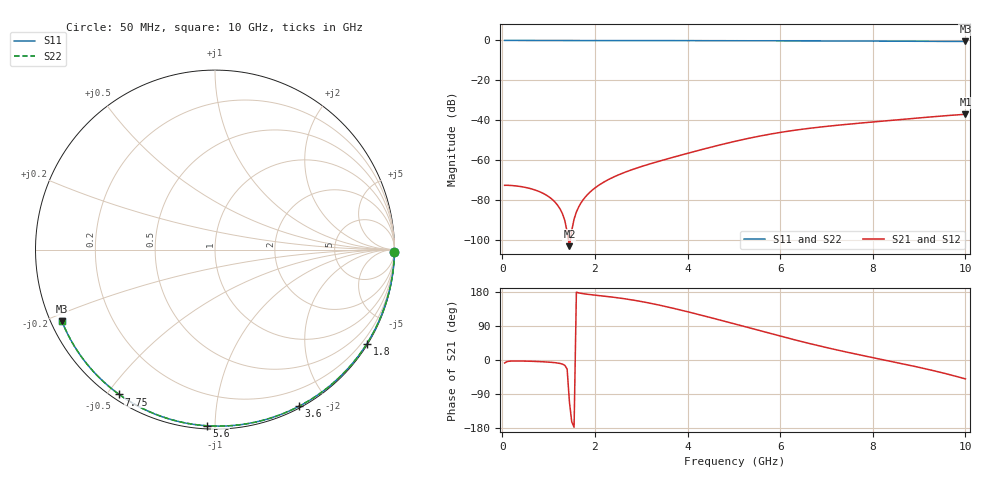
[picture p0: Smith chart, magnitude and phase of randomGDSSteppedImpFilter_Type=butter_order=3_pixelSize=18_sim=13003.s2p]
! freq	dB(S11)	phase(S11)	dB(S12)	phase(S12)
!  dB(S21)	phase(S21)	dB(S22)	phase(S22)
!S-par simulation data
#  GHz  S  DB  R 50
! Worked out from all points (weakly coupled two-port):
!   200 points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, 50 MHz to 10 GHz, reference 50 ohm
!   highest |S21| = -36.98 dB at 10 GHz (marker M1); lowest = -103.0 dB at 1.45 GHz (marker M2)
!   lowest |S11| = -0.5 dB at 10 GHz (marker M3), VSWR 33.33, Z = 1.58 - j11.1 ohm
!   |S11| at or under -10 dB: nowhere
!   |S22| runs from -0.5 to 0.0 dB; largest |S21 - S12| = 0
!   S11 on the Smith chart (normalised r, x): 50 MHz: open; 1.8 GHz: 0.03, -3.52; 3.6 GHz: 0.02, -1.67; 5.6 GHz: 0.02, -0.95; 7.75 GHz: 0.02, -0.54; 10 GHz: 0.03, -0.22
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0.05  -0.00 -0.9  -72.56 -7.9  -72.56 -7.9  -0.00 -0.9
0.35  -0.01 -6.3  -73.01 -2.6  -73.01 -2.6  -0.01 -6.3
0.65  -0.02 -11.6  -74.47 -3.5  -74.47 -3.5  -0.02 -11.6
0.9  -0.02 -16.0  -76.80 -4.8  -76.80 -4.8  -0.02 -16.1
1.1  -0.03 -19.6  -80.07 -6.6  -80.07 -6.6  -0.03 -19.6
1.45  -0.03 -25.7  -103.03 -111.0  -103.03 -111.0  -0.03 -25.7
1.75  -0.04 -30.9  -79.65 174.8  -79.65 174.8  -0.04 -30.9
1.8  -0.04 -31.8  -78.21 174.0  -78.21 174.0  -0.04 -31.8
1.9  -0.04 -33.5  -75.83 172.6  -75.83 172.6  -0.04 -33.5
2.05  -0.05 -36.1  -73.04 170.6  -73.04 170.6  -0.05 -36.1
2.35  -0.05 -41.2  -68.99 166.4  -68.99 166.4  -0.05 -41.2
2.8  -0.06 -48.7  -64.72 158.6  -64.72 158.6  -0.06 -48.7
3.4  -0.08 -58.6  -60.38 144.6  -60.38 144.6  -0.08 -58.6
3.6  -0.08 -61.8  -59.07 139.1  -59.07 139.1  -0.08 -61.9
4.3  -0.10 -73.0  -54.68 118.2  -54.68 118.2  -0.10 -73.0
5.05  -0.13 -84.5  -50.39 94.2  -50.39 94.2  -0.13 -84.5
5.6  -0.15 -92.8  -47.71 76.2  -47.71 76.2  -0.15 -92.8
6.7  -0.21 -108.7  -43.81 41.5  -43.81 41.5  -0.21 -108.8
7.75  -0.29 -123.5  -41.35 12.6  -41.35 12.6  -0.29 -123.5
8.35  -0.34 -131.8  -40.12 -2.6  -40.12 -2.6  -0.34 -131.9
9.2  -0.42 -143.6  -38.40 -24.9  -38.40 -24.9  -0.43 -143.6
10  -0.52 -154.8  -36.98 -49.8  -36.98 -49.8  -0.52 -154.9
